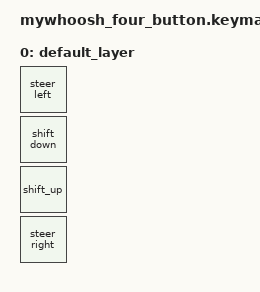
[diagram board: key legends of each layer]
#include <behaviors.dtsi>
#include <dt-bindings/zmk/keys.h>

/ {
    macros {
        steer_left: steer_left {
            compatible = "zmk,behavior-macro";
            #binding-cells = <0>;
            wait-ms = <0>;
            tap-ms = <10>;
            bindings = <&kp LEFT>;
        };

        shift_down: shift_down {
            compatible = "zmk,behavior-macro";
            #binding-cells = <0>;
            wait-ms = <0>;
            tap-ms = <10>;
            bindings = <&kp K>;
        };

        shift_up: shift_up {
            compatible = "zmk,behavior-macro";
            #binding-cells = <0>;
            wait-ms = <0>;
            tap-ms = <10>;
            bindings = <&kp I>;
        };

        steer_right: steer_right {
            compatible = "zmk,behavior-macro";
            #binding-cells = <0>;
            wait-ms = <0>;
            tap-ms = <10>;
            bindings = <&kp RIGHT>;
        };
    };

    keymap {
        compatible = "zmk,keymap";

        default_layer {
            bindings = <
                &steer_left
                &shift_down
                &shift_up
                &steer_right
            >;
        };
    };
};
